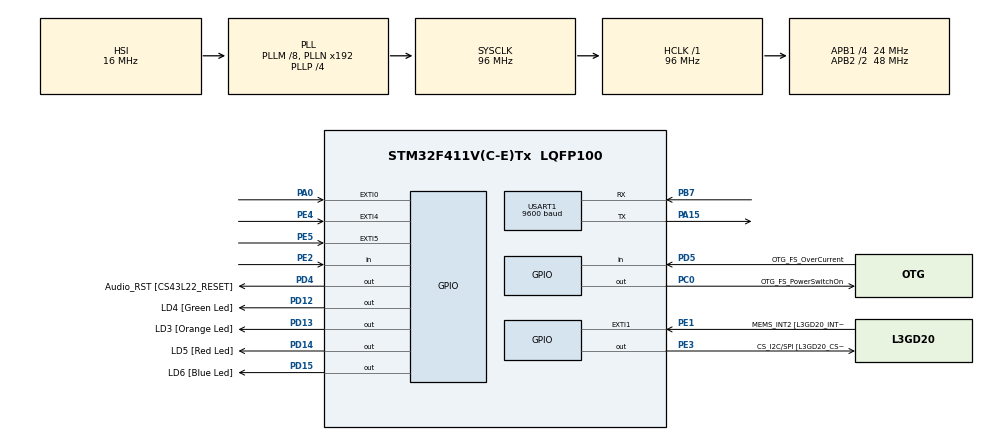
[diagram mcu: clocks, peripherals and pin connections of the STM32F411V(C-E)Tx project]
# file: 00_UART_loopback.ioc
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Mcu.Family=STM32F4
Mcu.Name=STM32F411V(C-E)Tx
Mcu.Package=LQFP100
NVIC.PriorityGroup=NVIC_PRIORITYGROUP_0
PA0-WKUP.GPIO_ModeDefaultEXTI=GPIO_MODE_EVT_RISING
PA0-WKUP.Signal=GPXTI0
PA10.GPIO_Label=OTG_FS_ID
PA10.Signal=USB_OTG_FS_ID
PA11.GPIO_Label=OTG_FS_DM
PA11.Signal=USB_OTG_FS_DM
PA12.GPIO_Label=OTG_FS_DP
PA12.Signal=USB_OTG_FS_DP
PA13.GPIO_Label=SWDIO
PA13.Signal=SYS_JTMS-SWDIO
PA14.GPIO_Label=SWCLK
PA14.Signal=SYS_JTCK-SWCLK
PA15.Mode=Asynchronous
PA15.Signal=USART1_TX
PA4.GPIO_Label=I2S3_WS [CS43L22_LRCK]
PA4.GPIO_Mode=GPIO_MODE_AF_PP
PA4.GPIO_PuPd=GPIO_NOPULL
PA4.GPIO_Speed=GPIO_SPEED_FREQ_LOW
PA4.Signal=I2S3_WS
PA5.GPIO_Label=SPI1_SCK [L3GD20_SC/SPC]
PA5.Signal=SPI1_SCK
PA6.GPIO_Label=SPI1_MISO [L3GD20_AS0/SDO]
PA6.Signal=SPI1_MISO
PA7.GPIO_Label=SPI1_MOSI [L3GD20_SDA/SDI/SDO]
PA7.Signal=SPI1_MOSI
PA9.GPIO_Label=VBUS_FS
PA9.Signal=USB_OTG_FS_VBUS
PB10.GPIO_Label=CLK_IN [MP45DT02_CLK]
PB10.Signal=I2S2_CK
PB12.Signal=I2S2_WS
PB3.GPIO_Label=SWO
PB3.Signal=SYS_JTDO-SWO
PB6.GPIO_Label=Audio_SCL [CS43L22_SCL]
PB6.GPIO_Mode=GPIO_MODE_AF_OD
PB6.GPIO_PuPd=GPIO_NOPULL
PB6.GPIO_Speed=GPIO_SPEED_FREQ_LOW
PB6.Signal=I2C1_SCL
PB7.Mode=Asynchronous
PB7.Signal=USART1_RX
PB9.GPIO_Label=Audio_SDA [CS43L22_SDA]
PB9.GPIO_Mode=GPIO_MODE_AF_OD
PB9.GPIO_PuPd=GPIO_NOPULL
PB9.GPIO_Speed=GPIO_SPEED_FREQ_LOW
PB9.Signal=I2C1_SDA
PC0.GPIO_Label=OTG_FS_PowerSwitchOn
PC0.PinState=GPIO_PIN_SET
PC0.Signal=GPIO_Output
PC10.GPIO_Label=I2S3_SCK [CS43L22_SCLK]
PC10.GPIO_Mode=GPIO_MODE_AF_PP
PC10.GPIO_PuPd=GPIO_NOPULL
PC10.GPIO_Speed=GPIO_SPEED_FREQ_LOW
PC10.Signal=I2S3_CK
PC12.GPIO_Label=I2S3_SD [CS43L22_SDIN]
PC12.GPIO_Mode=GPIO_MODE_AF_PP
PC12.GPIO_PuPd=GPIO_NOPULL
PC12.GPIO_Speed=GPIO_SPEED_FREQ_LOW
PC12.Signal=I2S3_SD
PC14-OSC32_IN.GPIO_Label=PC14-OSC32_IN
PC14-OSC32_IN.Signal=RCC_OSC32_IN
PC15-OSC32_OUT.GPIO_Label=PC15-OSC32_OUT
PC15-OSC32_OUT.Signal=RCC_OSC32_OUT
PC3.GPIO_Label=PDM_OUT [MP45DT02_DOUT]
PC3.Signal=I2S2_SD
PC7.GPIO_Label=I2S3_MCK [CS43L22_MCLK]
PC7.GPIO_Mode=GPIO_MODE_AF_PP
PC7.GPIO_PuPd=GPIO_NOPULL
PC7.GPIO_Speed=GPIO_SPEED_FREQ_LOW
PC7.Signal=I2S3_MCK
PD12.GPIO_Label=LD4 [Green Led]
PD12.GPIO_PuPd=GPIO_NOPULL
PD12.GPIO_Speed=GPIO_SPEED_FREQ_LOW
PD12.Signal=GPIO_Output
PD13.GPIO_Label=LD3 [Orange Led]
PD13.GPIO_PuPd=GPIO_NOPULL
PD13.GPIO_Speed=GPIO_SPEED_FREQ_LOW
PD13.Signal=GPIO_Output
PD14.GPIO_Label=LD5 [Red Led]
PD14.GPIO_PuPd=GPIO_NOPULL
PD14.GPIO_Speed=GPIO_SPEED_FREQ_LOW
PD14.Signal=GPIO_Output
PD15.GPIO_Label=LD6 [Blue Led]
PD15.GPIO_PuPd=GPIO_NOPULL
PD15.GPIO_Speed=GPIO_SPEED_FREQ_LOW
PD15.Signal=GPIO_Output
PD4.GPIO_Label=Audio_RST [CS43L22_RESET]
PD4.Signal=GPIO_Output
PD5.GPIO_Label=OTG_FS_OverCurrent
PD5.Signal=GPIO_Input
PE1.GPIO_Label=MEMS_INT2 [L3GD20_INT2]
PE1.GPIO_ModeDefaultEXTI=GPIO_MODE_EVT_RISING
PE1.Signal=GPXTI1
PE2.Signal=GPIO_Input
PE3.GPIO_Label=CS_I2C/SPI [L3GD20_CS_I2C/SPI]
PE3.Signal=GPIO_Output
PE4.GPIO_ModeDefaultEXTI=GPIO_MODE_EVT_RISING
PE4.Signal=GPXTI4
PE5.GPIO_ModeDefaultEXTI=GPIO_MODE_EVT_RISING
PE5.Signal=GPXTI5
PH0\ -\ OSC_IN.GPIO_Label=PH0-OSC_IN
PH0\ -\ OSC_IN.Signal=RCC_OSC_IN
PH1\ -\ OSC_OUT.GPIO_Label=PH1-OSC_OUT
PH1\ -\ OSC_OUT.Signal=RCC_OSC_OUT
ProjectManager.HeapSize=0x200
ProjectManager.StackSize=0x400
ProjectManager.TargetToolchain=STM32CubeIDE
RCC.48MHZClocksFreq_Value=48000000
RCC.AHBFreq_Value=96000000
RCC.APB1CLKDivider=RCC_HCLK_DIV4
RCC.APB1Freq_Value=24000000
RCC.APB1TimFreq_Value=48000000
RCC.APB2CLKDivider=RCC_HCLK_DIV2
RCC.APB2Freq_Value=48000000
RCC.APB2TimFreq_Value=96000000
RCC.CortexFreq_Value=96000000
RCC.HCLKFreq_Value=96000000
RCC.HSE_VALUE=8000000
RCC.HSI_VALUE=16000000
RCC.LSE_VALUE=32768
RCC.PLLI2SM=5
RCC.PLLI2SN=200
RCC.PLLM=8
RCC.PLLP=RCC_PLLP_DIV4
RCC.PLLQ=8
RCC.SYSCLKFreq_VALUE=96000000
RCC.SYSCLKSource=RCC_SYSCLKSOURCE_PLLCLK
RCC.VCOOutputFreq_Value=384000000
USART1.BaudRate=9600
USART1.VirtualMode=VM_ASYNC
board=STM32F411E-DISCO

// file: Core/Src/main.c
/* USER CODE BEGIN Header */
/**
  ******************************************************************************
  * @file           : main.c
  * @brief          : Main program body
  ******************************************************************************
  * @attention
  *
  * Copyright (c) 2025 STMicroelectronics.
  * All rights reserved.
  *
  * This software is licensed under terms that can be found in the LICENSE file
  * in the root directory of this software component.
  * If no LICENSE file comes with this software, it is provided AS-IS.
  *
  ******************************************************************************
  */
/* USER CODE END Header */
#include "main.h"

/* USER CODE BEGIN Includes */

/* UART Loopback Examples - HAL Implementation
 * Target: STM32F411E using USART1
 * Pins: PA9 (TX), PA10 (RX)
 */
#include "main.h"
#include "string.h"
/* USER CODE END Includes */

UART_HandleTypeDef huart1;
uint8_t rxBuffer[256];    // Receive buffer
uint8_t txBuffer[256];    // Transmit buffer
volatile uint8_t rxComplete = 0;   // Flag for non-blocking example

void SystemClock_Config(void);
static void MX_GPIO_Init(void);
static void MX_USART1_UART_Init(void);
void UART_Loopback_Blocking(void);
void UART_Loopback_NonBlocking(void);

int main(void)
{

  /* MCU Configuration--------------------------------------------------------*/

  /* Reset of all peripherals, Initializes the Flash interface and the Systick. */
  HAL_Init();

  /* Configure the system clock */
  SystemClock_Config();

  /* Initialize all configured peripherals */
  MX_GPIO_Init();
  MX_USART1_UART_Init();
  /* USER CODE BEGIN 2 */
  /* Send welcome message */
  char welcome[] = "UART Loopback Test Ready\r\n";
  HAL_UART_Transmit(&huart1, (uint8_t*)welcome, strlen(welcome), 1000);
  /* Choose loopback method */
  #if 1  // Set to 1 for blocking, 0 for non-blocking
      UART_Loopback_Blocking();
  #else
      UART_Loopback_NonBlocking();
  #endif
  /* USER CODE END 2 */

  /* Infinite loop */
  while (1)
  {

  }
}

void SystemClock_Config(void)
{
  RCC_OscInitTypeDef RCC_OscInitStruct = {0};
  RCC_ClkInitTypeDef RCC_ClkInitStruct = {0};

  /** Configure the main internal regulator output voltage
  */
  __HAL_RCC_PWR_CLK_ENABLE();
  __HAL_PWR_VOLTAGESCALING_CONFIG(PWR_REGULATOR_VOLTAGE_SCALE1);

  /** Initializes the RCC Oscillators according to the specified parameters
  * in the RCC_OscInitTypeDef structure.
  */
  RCC_OscInitStruct.OscillatorType = RCC_OSCILLATORTYPE_HSI;
  RCC_OscInitStruct.HSIState = RCC_HSI_ON;
  RCC_OscInitStruct.HSICalibrationValue = RCC_HSICALIBRATION_DEFAULT;
  RCC_OscInitStruct.PLL.PLLState = RCC_PLL_ON;
  RCC_OscInitStruct.PLL.PLLSource = RCC_PLLSOURCE_HSI;
  RCC_OscInitStruct.PLL.PLLM = 8;
  RCC_OscInitStruct.PLL.PLLN = 192;
  RCC_OscInitStruct.PLL.PLLP = RCC_PLLP_DIV4;
  RCC_OscInitStruct.PLL.PLLQ = 8;
  if (HAL_RCC_OscConfig(&RCC_OscInitStruct) != HAL_OK)
  {
    Error_Handler();
  }

  /** Initializes the CPU, AHB and APB buses clocks
  */
  RCC_ClkInitStruct.ClockType = RCC_CLOCKTYPE_HCLK|RCC_CLOCKTYPE_SYSCLK
                              |RCC_CLOCKTYPE_PCLK1|RCC_CLOCKTYPE_PCLK2;
  RCC_ClkInitStruct.SYSCLKSource = RCC_SYSCLKSOURCE_PLLCLK;
  RCC_ClkInitStruct.AHBCLKDivider = RCC_SYSCLK_DIV1;
  RCC_ClkInitStruct.APB1CLKDivider = RCC_HCLK_DIV4;
  RCC_ClkInitStruct.APB2CLKDivider = RCC_HCLK_DIV2;

  if (HAL_RCC_ClockConfig(&RCC_ClkInitStruct, FLASH_LATENCY_3) != HAL_OK)
  {
    Error_Handler();
  }
}

static void MX_USART1_UART_Init(void)
{

  huart1.Instance = USART1;
  huart1.Init.BaudRate = 9600;
  huart1.Init.WordLength = UART_WORDLENGTH_8B;
  huart1.Init.StopBits = UART_STOPBITS_1;
  huart1.Init.Parity = UART_PARITY_NONE;
  huart1.Init.Mode = UART_MODE_TX_RX;
  huart1.Init.HwFlowCtl = UART_HWCONTROL_NONE;
  huart1.Init.OverSampling = UART_OVERSAMPLING_16;
  if (HAL_UART_Init(&huart1) != HAL_OK)
  {
    Error_Handler();
  }

}

static void MX_GPIO_Init(void)
{
  GPIO_InitTypeDef GPIO_InitStruct = {0};

  /* GPIO Ports Clock Enable */
  __HAL_RCC_GPIOE_CLK_ENABLE();
  __HAL_RCC_GPIOC_CLK_ENABLE();
  __HAL_RCC_GPIOH_CLK_ENABLE();
  __HAL_RCC_GPIOA_CLK_ENABLE();
  __HAL_RCC_GPIOB_CLK_ENABLE();
  __HAL_RCC_GPIOD_CLK_ENABLE();

  /*Configure GPIO pin Output Level */
  HAL_GPIO_WritePin(CS_I2C_SPI_GPIO_Port, CS_I2C_SPI_Pin, GPIO_PIN_RESET);

  /*Configure GPIO pin Output Level */
  HAL_GPIO_WritePin(OTG_FS_PowerSwitchOn_GPIO_Port, OTG_FS_PowerSwitchOn_Pin, GPIO_PIN_SET);

  /*Configure GPIO pin Output Level */
  HAL_GPIO_WritePin(GPIOD, LD4_Pin|LD3_Pin|LD5_Pin|LD6_Pin
                          |Audio_RST_Pin, GPIO_PIN_RESET);

  /*Configure GPIO pin : PE2 */
  GPIO_InitStruct.Pin = GPIO_PIN_2;
  GPIO_InitStruct.Mode = GPIO_MODE_INPUT;
  GPIO_InitStruct.Pull = GPIO_NOPULL;
  HAL_GPIO_Init(GPIOE, &GPIO_InitStruct);

  /*Configure GPIO pin : CS_I2C_SPI_Pin */
  GPIO_InitStruct.Pin = CS_I2C_SPI_Pin;
  GPIO_InitStruct.Mode = GPIO_MODE_OUTPUT_PP;
  GPIO_InitStruct.Pull = GPIO_NOPULL;
  GPIO_InitStruct.Speed = GPIO_SPEED_FREQ_LOW;
  HAL_GPIO_Init(CS_I2C_SPI_GPIO_Port, &GPIO_InitStruct);

  /*Configure GPIO pins : PE4 PE5 MEMS_INT2_Pin */
  GPIO_InitStruct.Pin = GPIO_PIN_4|GPIO_PIN_5|MEMS_INT2_Pin;
  GPIO_InitStruct.Mode = GPIO_MODE_EVT_RISING;
  GPIO_InitStruct.Pull = GPIO_NOPULL;
  HAL_GPIO_Init(GPIOE, &GPIO_InitStruct);

  /*Configure GPIO pin : OTG_FS_PowerSwitchOn_Pin */
  GPIO_InitStruct.Pin = OTG_FS_PowerSwitchOn_Pin;
  GPIO_InitStruct.Mode = GPIO_MODE_OUTPUT_PP;
  GPIO_InitStruct.Pull = GPIO_NOPULL;
  GPIO_InitStruct.Speed = GPIO_SPEED_FREQ_LOW;
  HAL_GPIO_Init(OTG_FS_PowerSwitchOn_GPIO_Port, &GPIO_InitStruct);

  /*Configure GPIO pin : PDM_OUT_Pin */
  GPIO_InitStruct.Pin = PDM_OUT_Pin;
  GPIO_InitStruct.Mode = GPIO_MODE_AF_PP;
  GPIO_InitStruct.Pull = GPIO_NOPULL;
  GPIO_InitStruct.Speed = GPIO_SPEED_FREQ_LOW;
  GPIO_InitStruct.Alternate = GPIO_AF5_SPI2;
  HAL_GPIO_Init(PDM_OUT_GPIO_Port, &GPIO_InitStruct);

  /*Configure GPIO pin : PA0 */
  GPIO_InitStruct.Pin = GPIO_PIN_0;
  GPIO_InitStruct.Mode = GPIO_MODE_EVT_RISING;
  GPIO_InitStruct.Pull = GPIO_NOPULL;
  HAL_GPIO_Init(GPIOA, &GPIO_InitStruct);

  /*Configure GPIO pin : I2S3_WS_Pin */
  GPIO_InitStruct.Pin = I2S3_WS_Pin;
  GPIO_InitStruct.Mode = GPIO_MODE_AF_PP;
  GPIO_InitStruct.Pull = GPIO_NOPULL;
  GPIO_InitStruct.Speed = GPIO_SPEED_FREQ_LOW;
  GPIO_InitStruct.Alternate = GPIO_AF6_SPI3;
  HAL_GPIO_Init(I2S3_WS_GPIO_Port, &GPIO_InitStruct);

  /*Configure GPIO pins : SPI1_SCK_Pin SPI1_MISO_Pin SPI1_MOSI_Pin */
  GPIO_InitStruct.Pin = SPI1_SCK_Pin|SPI1_MISO_Pin|SPI1_MOSI_Pin;
  GPIO_InitStruct.Mode = GPIO_MODE_AF_PP;
  GPIO_InitStruct.Pull = GPIO_NOPULL;
  GPIO_InitStruct.Speed = GPIO_SPEED_FREQ_VERY_HIGH;
  GPIO_InitStruct.Alternate = GPIO_AF5_SPI1;
  HAL_GPIO_Init(GPIOA, &GPIO_InitStruct);

  /*Configure GPIO pins : CLK_IN_Pin PB12 */
  GPIO_InitStruct.Pin = CLK_IN_Pin|GPIO_PIN_12;
  GPIO_InitStruct.Mode = GPIO_MODE_AF_PP;
  GPIO_InitStruct.Pull = GPIO_NOPULL;
  GPIO_InitStruct.Speed = GPIO_SPEED_FREQ_LOW;
  GPIO_InitStruct.Alternate = GPIO_AF5_SPI2;
  HAL_GPIO_Init(GPIOB, &GPIO_InitStruct);

  /*Configure GPIO pins : LD4_Pin LD3_Pin LD5_Pin LD6_Pin
                           Audio_RST_Pin */
  GPIO_InitStruct.Pin = LD4_Pin|LD3_Pin|LD5_Pin|LD6_Pin
                          |Audio_RST_Pin;
  GPIO_InitStruct.Mode = GPIO_MODE_OUTPUT_PP;
  GPIO_InitStruct.Pull = GPIO_NOPULL;
  GPIO_InitStruct.Speed = GPIO_SPEED_FREQ_LOW;
  HAL_GPIO_Init(GPIOD, &GPIO_InitStruct);

  /*Configure GPIO pins : I2S3_MCK_Pin I2S3_SCK_Pin I2S3_SD_Pin */
  GPIO_InitStruct.Pin = I2S3_MCK_Pin|I2S3_SCK_Pin|I2S3_SD_Pin;
  GPIO_InitStruct.Mode = GPIO_MODE_AF_PP;
  GPIO_InitStruct.Pull = GPIO_NOPULL;
  GPIO_InitStruct.Speed = GPIO_SPEED_FREQ_LOW;
  GPIO_InitStruct.Alternate = GPIO_AF6_SPI3;
  HAL_GPIO_Init(GPIOC, &GPIO_InitStruct);

  /*Configure GPIO pin : VBUS_FS_Pin */
  GPIO_InitStruct.Pin = VBUS_FS_Pin;
  GPIO_InitStruct.Mode = GPIO_MODE_INPUT;
  GPIO_InitStruct.Pull = GPIO_NOPULL;
  HAL_GPIO_Init(VBUS_FS_GPIO_Port, &GPIO_InitStruct);

  /*Configure GPIO pins : OTG_FS_ID_Pin OTG_FS_DM_Pin OTG_FS_DP_Pin */
  GPIO_InitStruct.Pin = OTG_FS_ID_Pin|OTG_FS_DM_Pin|OTG_FS_DP_Pin;
  GPIO_InitStruct.Mode = GPIO_MODE_AF_PP;
  GPIO_InitStruct.Pull = GPIO_NOPULL;
  GPIO_InitStruct.Speed = GPIO_SPEED_FREQ_VERY_HIGH;
  GPIO_InitStruct.Alternate = GPIO_AF10_OTG_FS;
  HAL_GPIO_Init(GPIOA, &GPIO_InitStruct);

  /*Configure GPIO pin : OTG_FS_OverCurrent_Pin */
  GPIO_InitStruct.Pin = OTG_FS_OverCurrent_Pin;
  GPIO_InitStruct.Mode = GPIO_MODE_INPUT;
  GPIO_InitStruct.Pull = GPIO_NOPULL;
  HAL_GPIO_Init(OTG_FS_OverCurrent_GPIO_Port, &GPIO_InitStruct);

  /*Configure GPIO pins : Audio_SCL_Pin Audio_SDA_Pin */
  GPIO_InitStruct.Pin = Audio_SCL_Pin|Audio_SDA_Pin;
  GPIO_InitStruct.Mode = GPIO_MODE_AF_OD;
  GPIO_InitStruct.Pull = GPIO_NOPULL;
  GPIO_InitStruct.Speed = GPIO_SPEED_FREQ_LOW;
  GPIO_InitStruct.Alternate = GPIO_AF4_I2C1;
  HAL_GPIO_Init(GPIOB, &GPIO_InitStruct);

}

/* USER CODE BEGIN 4 */

/* ============ BLOCKING LOOPBACK EXAMPLE ============ */
void UART_Loopback_Blocking(void)
{
    HAL_StatusTypeDef status;
    uint16_t msgLength;
    char prompt[] = "Enter message: ";

	/* Send prompt */
	HAL_UART_Transmit(&huart1, (uint8_t*)prompt, strlen(prompt), 1000);
    msgLength = 0;

    while (1)
    {
        /* Wait for message (blocking) - timeout after 30 seconds */
//        status = HAL_UART_Receive(&huart1, rxBuffer, sizeof(rxBuffer)-1, 30000);
        status = HAL_UART_Receive(&huart1, &rxBuffer[msgLength], 1, 30000);
		// Receive 1 byte at a time

        if (status == HAL_OK)
        {
            /* Find actual message length (until \r or \n) */

			msgLength++;
            if(rxBuffer[msgLength-1] == '\r' || rxBuffer[msgLength-1] == '\0'){
            	/* Prepare echo response */
				strcpy((char*)txBuffer, "Echo: ");
				strncat((char*)txBuffer, (char*)rxBuffer, msgLength);
				strcat((char*)txBuffer, "\r\n");

				/* Send echo back (blocking) */
				HAL_UART_Transmit(&huart1, txBuffer, strlen((char*)txBuffer), 1000);
				HAL_UART_Transmit(&huart1, (uint8_t*)prompt, strlen(prompt), 1000);
			    msgLength = 0;
		        memset(rxBuffer, 0, sizeof(rxBuffer));
            }
        }
        else if (status == HAL_TIMEOUT)
        {
            char timeout_msg[] = "Timeout - no message received\r\n";
            HAL_UART_Transmit(&huart1, (uint8_t*)timeout_msg, strlen(timeout_msg), 1000);
            memset(rxBuffer, 0, sizeof(rxBuffer));
        }
        else
        {
            char error_msg[] = "UART Error occurred\r\n";
            HAL_UART_Transmit(&huart1, (uint8_t*)error_msg, strlen(error_msg), 1000);
            memset(rxBuffer, 0, sizeof(rxBuffer));
        }

        /* Clear buffer */

        /* Small delay */
        HAL_Delay(100);
    }
}

/* ============ NON-BLOCKING LOOPBACK EXAMPLE ============ */
void UART_Loopback_NonBlocking(void)
{
    char prompt[] = "Enter message (non-blocking): ";
    char ready_msg[] = "Ready for next message...\r\n";

    /* Send initial prompt */
    HAL_UART_Transmit(&huart1, (uint8_t*)prompt, strlen(prompt), 1000);

    /* Start first reception (non-blocking) */
    HAL_UART_Receive_IT(&huart1, rxBuffer, 1);  // Receive one character at a time

    while (1)
    {
        /* Check if reception is complete */
        if (rxComplete)
        {
//            /* Process received message */
//            uint16_t msgLength = strlen((char*)rxBuffer);

            /* Prepare echo response */
            strcpy((char*)txBuffer, "Echo: ");
            strcat((char*)txBuffer, (char*)rxBuffer);
            strcat((char*)txBuffer, "\r\n");

            /* Send echo back (blocking for simplicity) */
            HAL_UART_Transmit(&huart1, txBuffer, strlen((char*)txBuffer), 1000);

            /* Send ready message */
            HAL_UART_Transmit(&huart1, (uint8_t*)ready_msg, strlen(ready_msg), 1000);

            /* Clear buffer and flag */
            memset(rxBuffer, 0, sizeof(rxBuffer));
            rxComplete = 0;

            /* Start next reception */
            HAL_UART_Receive_IT(&huart1, rxBuffer, 1);
        }

        /* Do other tasks here while waiting for UART */
        HAL_Delay(10);  // Simulate other work
    }
}

/* Alternative non-blocking using idle line detection */
void UART_Loopback_NonBlocking_Idle(void)
{
    char prompt[] = "Enter message (idle detection): ";

    /* Send prompt */
    HAL_UART_Transmit(&huart1, (uint8_t*)prompt, strlen(prompt), 1000);

    /* Start reception with idle line detection */
    HAL_UARTEx_ReceiveToIdle_IT(&huart1, rxBuffer, sizeof(rxBuffer)-1);

    while (1)
    {
        if (rxComplete)
        {
            /* Message received via idle line detection */
            strcpy((char*)txBuffer, "Echo: ");
            strcat((char*)txBuffer, (char*)rxBuffer);
            strcat((char*)txBuffer, "\r\n");

            /* Echo back */
            HAL_UART_Transmit(&huart1, txBuffer, strlen((char*)txBuffer), 1000);

            /* Clear and restart */
            memset(rxBuffer, 0, sizeof(rxBuffer));
            rxComplete = 0;
            HAL_UARTEx_ReceiveToIdle_IT(&huart1, rxBuffer, sizeof(rxBuffer)-1);
        }

        /* Other tasks */
        HAL_Delay(10);
    }
}

/* UART Reception Complete Callback */
void HAL_UART_RxCpltCallback(UART_HandleTypeDef *huart)
{
    if (huart->Instance == USART1)
    {
        static uint16_t rxIndex = 0;

        /* Check for end of message */
        if (rxBuffer[rxIndex] == '\r' || rxBuffer[rxIndex] == '\n')
        {
            rxBuffer[rxIndex] = '\0';  // Null terminate
            rxComplete = 1;
            rxIndex = 0;
        }
        else
        {
            rxIndex++;
            if (rxIndex < sizeof(rxBuffer)-1)
            {
                /* Continue receiving next character */
                HAL_UART_Receive_IT(&huart1, &rxBuffer[rxIndex], 1);
            }
            else
            {
                /* Buffer full - process message */
                rxBuffer[rxIndex] = '\0';
                rxComplete = 1;
                rxIndex = 0;
            }
        }
    }
}

/* UART Reception Event Callback (for idle line detection) */
void HAL_UARTEx_RxEventCallback(UART_HandleTypeDef *huart, uint16_t Size)
{
    if (huart->Instance == USART1)
    {
        /* Null terminate received string */
        rxBuffer[Size] = '\0';
        rxComplete = 1;
    }
}

/* UART Error Callback */
void HAL_UART_ErrorCallback(UART_HandleTypeDef *huart)
{
    if (huart->Instance == USART1)
    {
        char error_msg[] = "UART Error in callback\r\n";
        HAL_UART_Transmit(&huart1, (uint8_t*)error_msg, strlen(error_msg), 1000);

        /* Restart reception after error */
        HAL_UART_Receive_IT(&huart1, rxBuffer, 1);
    }
}

/* USER CODE END 4 */

void Error_Handler(void)
{
  __disable_irq();
  while (1)
  {
  }
}
